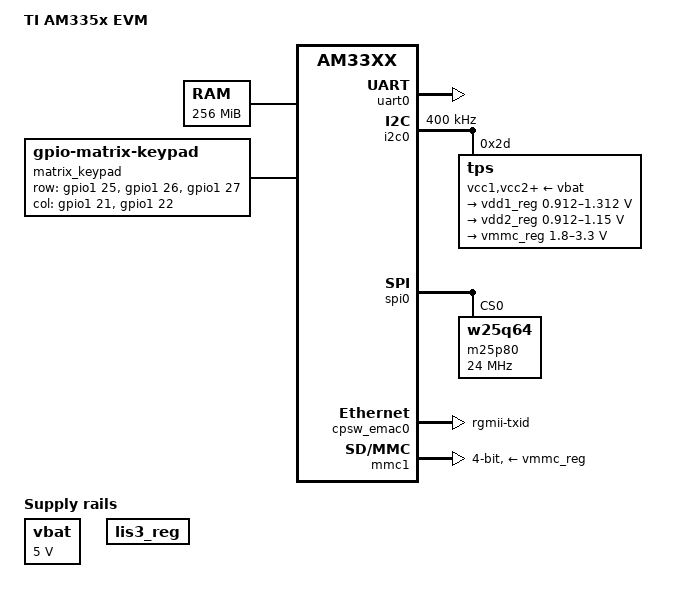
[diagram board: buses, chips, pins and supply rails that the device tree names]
/*
 * Copyright (C) 2012 Texas Instruments Incorporated - http://www.ti.com/
 *
 * This program is free software; you can redistribute it and/or modify
 * it under the terms of the GNU General Public License version 2 as
 * published by the Free Software Foundation.
 */
/dts-v1/;

#include "am33xx.dtsi"

/ {
	model = "TI AM335x EVM";
	compatible = "ti,am335x-evm", "ti,am33xx";

	cpus {
		cpu@0 {
			cpu0-supply = <&vdd1_reg>;
		};
	};

	memory {
		device_type = "memory";
		reg = <0x80000000 0x10000000>; /* 256 MB */
	};

	am33xx_pinmux: pinmux@44e10800 {
		pinctrl-names = "default";
		pinctrl-0 = <&matrix_keypad_s0 &clkout2_pin>;

		matrix_keypad_s0: matrix_keypad_s0 {
			pinctrl-single,pins = <
				0x54 (PIN_OUTPUT_PULLDOWN | MUX_MODE7)	/* gpmc_a5.gpio1_21 */
				0x58 (PIN_OUTPUT_PULLDOWN | MUX_MODE7)	/* gpmc_a6.gpio1_22 */
				0x64 (PIN_INPUT_PULLDOWN | MUX_MODE7)	/* gpmc_a9.gpio1_25 */
				0x68 (PIN_INPUT_PULLDOWN | MUX_MODE7)	/* gpmc_a10.gpio1_26 */
				0x6c (PIN_INPUT_PULLDOWN | MUX_MODE7)	/* gpmc_a11.gpio1_27 */
			>;
		};

		i2c0_pins: pinmux_i2c0_pins {
			pinctrl-single,pins = <
				0x188 (PIN_INPUT_PULLUP | MUX_MODE0)	/* i2c0_sda.i2c0_sda */
				0x18c (PIN_INPUT_PULLUP | MUX_MODE0)	/* i2c0_scl.i2c0_scl */
			>;
		};

		spi0_pins: pinmux_spi0_pins {
			pinctrl-single,pins = <
				0x150 (PIN_INPUT_PULLUP | MUX_MODE0)    /* spi0_clk.spi0_clk */
				0x154 (PIN_INPUT_PULLUP | MUX_MODE0)    /* spi0_d0.spi0_d0 */
				0x158 (PIN_INPUT_PULLUP | MUX_MODE0)    /* spi0_d1.spi0_d1 */
				0x15c (PIN_INPUT_PULLUP | MUX_MODE0)    /* spi0_cs0.spi0_cs0 */
			>;
		};

		uart0_pins: pinmux_uart0_pins {
			pinctrl-single,pins = <
				0x170 (PIN_INPUT_PULLUP | MUX_MODE0)	/* uart0_rxd.uart0_rxd */
				0x174 (PIN_OUTPUT_PULLDOWN | MUX_MODE0)	/* uart0_txd.uart0_txd */
			>;
		};

		clkout2_pin: pinmux_clkout2_pin {
			pinctrl-single,pins = <
				0x1b4 (PIN_OUTPUT_PULLDOWN | MUX_MODE3)	/* xdma_event_intr1.clkout2 */
			>;
		};

		cpsw_default: cpsw_default {
			pinctrl-single,pins = <
				/* Slave 1 */
				0x114 (PIN_OUTPUT_PULLDOWN | MUX_MODE2)	/* mii1_txen.rgmii1_tctl */
				0x118 (PIN_INPUT_PULLDOWN | MUX_MODE2)	/* mii1_rxdv.rgmii1_rctl */
				0x11c (PIN_OUTPUT_PULLDOWN | MUX_MODE2)	/* mii1_txd3.rgmii1_td3 */
				0x120 (PIN_OUTPUT_PULLDOWN | MUX_MODE2)	/* mii1_txd2.rgmii1_td2 */
				0x124 (PIN_OUTPUT_PULLDOWN | MUX_MODE2)	/* mii1_txd1.rgmii1_td1 */
				0x128 (PIN_OUTPUT_PULLDOWN | MUX_MODE2)	/* mii1_txd0.rgmii1_td0 */
				0x12c (PIN_OUTPUT_PULLDOWN | MUX_MODE2)	/* mii1_txclk.rgmii1_tclk */
				0x130 (PIN_INPUT_PULLDOWN | MUX_MODE2)	/* mii1_rxclk.rgmii1_rclk */
				0x134 (PIN_INPUT_PULLDOWN | MUX_MODE2)	/* mii1_rxd3.rgmii1_rd3 */
				0x138 (PIN_INPUT_PULLDOWN | MUX_MODE2)	/* mii1_rxd2.rgmii1_rd2 */
				0x13c (PIN_INPUT_PULLDOWN | MUX_MODE2)	/* mii1_rxd1.rgmii1_rd1 */
				0x140 (PIN_INPUT_PULLDOWN | MUX_MODE2)	/* mii1_rxd0.rgmii1_rd0 */
			>;
		};

		cpsw_sleep: cpsw_sleep {
			pinctrl-single,pins = <
				/* Slave 1 reset value */
				0x114 (PIN_INPUT_PULLDOWN | MUX_MODE7)
				0x118 (PIN_INPUT_PULLDOWN | MUX_MODE7)
				0x11c (PIN_INPUT_PULLDOWN | MUX_MODE7)
				0x120 (PIN_INPUT_PULLDOWN | MUX_MODE7)
				0x124 (PIN_INPUT_PULLDOWN | MUX_MODE7)
				0x128 (PIN_INPUT_PULLDOWN | MUX_MODE7)
				0x12c (PIN_INPUT_PULLDOWN | MUX_MODE7)
				0x130 (PIN_INPUT_PULLDOWN | MUX_MODE7)
				0x134 (PIN_INPUT_PULLDOWN | MUX_MODE7)
				0x138 (PIN_INPUT_PULLDOWN | MUX_MODE7)
				0x13c (PIN_INPUT_PULLDOWN | MUX_MODE7)
				0x140 (PIN_INPUT_PULLDOWN | MUX_MODE7)
			>;
		};

		davinci_mdio_default: davinci_mdio_default {
			pinctrl-single,pins = <
				/* MDIO */
				0x148 (PIN_INPUT_PULLUP | SLEWCTRL_FAST | MUX_MODE0)	/* mdio_data.mdio_data */
				0x14c (PIN_OUTPUT_PULLUP | MUX_MODE0)			/* mdio_clk.mdio_clk */
			>;
		};

		davinci_mdio_sleep: davinci_mdio_sleep {
			pinctrl-single,pins = <
				/* MDIO reset value */
				0x148 (PIN_INPUT_PULLDOWN | MUX_MODE7)
				0x14c (PIN_INPUT_PULLDOWN | MUX_MODE7)
			>;
		};
	};

	ocp {
		uart0: serial@44e09000 {
			pinctrl-names = "default";
			pinctrl-0 = <&uart0_pins>;

			status = "okay";
		};

		i2c0: i2c@44e0b000 {
			pinctrl-names = "default";
			pinctrl-0 = <&i2c0_pins>;

			status = "okay";
			clock-frequency = <400000>;

			tps: tps@2d {
				reg = <0x2d>;
			};
		};

		spi0: spi@48030000 {
			pinctrl-names = "default";
			pinctrl-0 = <&spi0_pins>;

			status = "okay";
			m25p80@0 {
				compatible = "w25q64";
				spi-max-frequency = <24000000>;
				reg = <0x0>;
			};
		};
	};

	vbat: fixedregulator@0 {
		compatible = "regulator-fixed";
		regulator-name = "vbat";
		regulator-min-microvolt = <5000000>;
		regulator-max-microvolt = <5000000>;
		regulator-boot-on;
	};

	lis3_reg: fixedregulator@1 {
		compatible = "regulator-fixed";
		regulator-name = "lis3_reg";
		regulator-boot-on;
	};

	matrix_keypad: matrix_keypad@0 {
		compatible = "gpio-matrix-keypad";
		debounce-delay-ms = <5>;
		col-scan-delay-us = <2>;

		row-gpios = <&gpio1 25 GPIO_ACTIVE_HIGH		/* Bank1, pin25 */
			     &gpio1 26 GPIO_ACTIVE_HIGH		/* Bank1, pin26 */
			     &gpio1 27 GPIO_ACTIVE_HIGH>;	/* Bank1, pin27 */

		col-gpios = <&gpio1 21 GPIO_ACTIVE_HIGH		/* Bank1, pin21 */
			     &gpio1 22 GPIO_ACTIVE_HIGH>;	/* Bank1, pin22 */

		linux,keymap = <0x0000008b	/* MENU */
				0x0100009e	/* BACK */
				0x02000069	/* LEFT */
				0x0001006a	/* RIGHT */
				0x0101001c	/* ENTER */
				0x0201006c>;	/* DOWN */
	};
};

#include "tps65910.dtsi"

&tps {
	vcc1-supply = <&vbat>;
	vcc2-supply = <&vbat>;
	vcc3-supply = <&vbat>;
	vcc4-supply = <&vbat>;
	vcc5-supply = <&vbat>;
	vcc6-supply = <&vbat>;
	vcc7-supply = <&vbat>;
	vccio-supply = <&vbat>;

	regulators {
		vrtc_reg: regulator@0 {
			regulator-always-on;
		};

		vio_reg: regulator@1 {
			regulator-always-on;
		};

		vdd1_reg: regulator@2 {
			/* VDD_MPU voltage limits 0.95V - 1.26V with +/-4% tolerance */
			regulator-name = "vdd_mpu";
			regulator-min-microvolt = <912500>;
			regulator-max-microvolt = <1312500>;
			regulator-boot-on;
			regulator-always-on;
		};

		vdd2_reg: regulator@3 {
			/* VDD_CORE voltage limits 0.95V - 1.1V with +/-4% tolerance */
			regulator-name = "vdd_core";
			regulator-min-microvolt = <912500>;
			regulator-max-microvolt = <1150000>;
			regulator-boot-on;
			regulator-always-on;
		};

		vdd3_reg: regulator@4 {
			regulator-always-on;
		};

		vdig1_reg: regulator@5 {
			regulator-always-on;
		};

		vdig2_reg: regulator@6 {
			regulator-always-on;
		};

		vpll_reg: regulator@7 {
			regulator-always-on;
		};

		vdac_reg: regulator@8 {
			regulator-always-on;
		};

		vaux1_reg: regulator@9 {
			regulator-always-on;
		};

		vaux2_reg: regulator@10 {
			regulator-always-on;
		};

		vaux33_reg: regulator@11 {
			regulator-always-on;
		};

		vmmc_reg: regulator@12 {
			regulator-min-microvolt = <1800000>;
			regulator-max-microvolt = <3300000>;
			regulator-always-on;
		};
	};
};

&mac {
	slaves = <1>;
	pinctrl-names = "default", "sleep";
	pinctrl-0 = <&cpsw_default>;
	pinctrl-1 = <&cpsw_sleep>;
};

&davinci_mdio {
	pinctrl-names = "default", "sleep";
	pinctrl-0 = <&davinci_mdio_default>;
	pinctrl-1 = <&davinci_mdio_sleep>;
};

&cpsw_emac0 {
	phy_id = <&davinci_mdio>, <0>;
	phy-mode = "rgmii-txid";
};

&mmc1 {
	status = "okay";
	vmmc-supply = <&vmmc_reg>;
	bus-width = <4>;
};
